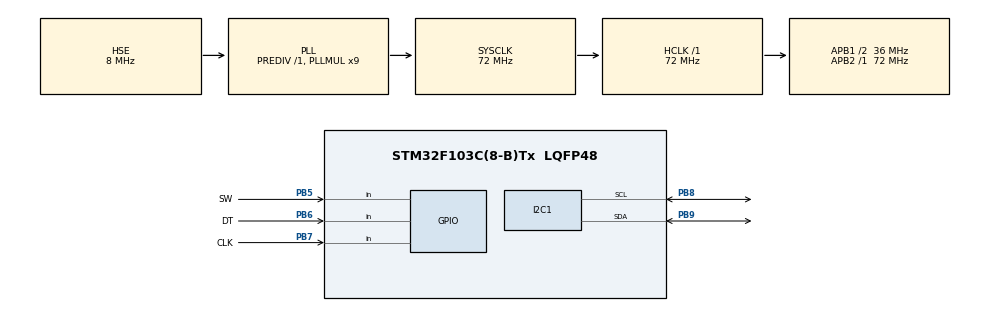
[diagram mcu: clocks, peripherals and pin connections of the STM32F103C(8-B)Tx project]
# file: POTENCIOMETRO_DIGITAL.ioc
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Dma.I2C1_TX.0.Direction=DMA_MEMORY_TO_PERIPH
Dma.I2C1_TX.0.Instance=DMA1_Channel6
Dma.I2C1_TX.0.MemDataAlignment=DMA_MDATAALIGN_BYTE
Dma.I2C1_TX.0.MemInc=DMA_MINC_ENABLE
Dma.I2C1_TX.0.Mode=DMA_NORMAL
Dma.I2C1_TX.0.PeriphDataAlignment=DMA_PDATAALIGN_BYTE
Dma.I2C1_TX.0.PeriphInc=DMA_PINC_DISABLE
Dma.I2C1_TX.0.Priority=DMA_PRIORITY_LOW
Dma.Request0=I2C1_TX
I2C1.I2C_Mode=I2C_Fast
Mcu.Family=STM32F1
Mcu.Name=STM32F103C(8-B)Tx
Mcu.Package=LQFP48
NVIC.DMA1_Channel6_IRQn=true\:0\:0\:false\:false\:true\:false\:true\:true
NVIC.I2C1_EV_IRQn=true\:0\:0\:false\:false\:true\:true\:true\:true
NVIC.PriorityGroup=NVIC_PRIORITYGROUP_4
NVIC.TIM4_IRQn=true\:0\:0\:false\:false\:true\:true\:true\:true
PA13.Mode=Serial_Wire
PA13.Signal=SYS_JTMS-SWDIO
PA14.Mode=Serial_Wire
PA14.Signal=SYS_JTCK-SWCLK
PB5.GPIO_Label=SW
PB5.GPIO_Mode=GPIO_MODE_INPUT
PB5.GPIO_PuPd=GPIO_PULLDOWN
PB5.Signal=GPIO_Input
PB6.GPIO_Label=DT
PB6.GPIO_Mode=GPIO_MODE_INPUT
PB6.GPIO_PuPd=GPIO_PULLDOWN
PB6.Signal=GPIO_Input
PB7.GPIO_Label=CLK
PB7.GPIO_Mode=GPIO_MODE_INPUT
PB7.GPIO_PuPd=GPIO_PULLDOWN
PB7.Signal=GPIO_Input
PB8.Mode=I2C
PB8.Signal=I2C1_SCL
PB9.Mode=I2C
PB9.Signal=I2C1_SDA
PD0-OSC_IN.Mode=HSE-External-Oscillator
PD0-OSC_IN.Signal=RCC_OSC_IN
PD1-OSC_OUT.Mode=HSE-External-Oscillator
PD1-OSC_OUT.Signal=RCC_OSC_OUT
ProjectManager.HeapSize=0x200
ProjectManager.StackSize=0x400
ProjectManager.TargetToolchain=STM32CubeIDE
RCC.AHBFreq_Value=72000000
RCC.APB1CLKDivider=RCC_HCLK_DIV2
RCC.APB1Freq_Value=36000000
RCC.APB1TimFreq_Value=72000000
RCC.APB2Freq_Value=72000000
RCC.APB2TimFreq_Value=72000000
RCC.HCLKFreq_Value=72000000
RCC.PLLMUL=RCC_PLL_MUL9
RCC.PLLSourceVirtual=RCC_PLLSOURCE_HSE
RCC.SYSCLKFreq_VALUE=72000000
RCC.SYSCLKSource=RCC_SYSCLKSOURCE_PLLCLK
RCC.USBFreq_Value=72000000
TIM4.Period=10-1
TIM4.Prescaler=36000-1
VP_TIM4_VS_ClockSourceINT.Mode=Internal
board=custom

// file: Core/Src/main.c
/* USER CODE BEGIN Header */
/**
  ******************************************************************************
  * @file           : main.c
  * @brief          : Main program body
  ******************************************************************************
  * @attention
  *
  * Copyright (c) 2025 STMicroelectronics.
  * All rights reserved.
  *
  * This software is licensed under terms that can be found in the LICENSE file
  * in the root directory of this software component.
  * If no LICENSE file comes with this software, it is provided AS-IS.
  *
  ******************************************************************************
  */
/* USER CODE END Header */
#include "main.h"

/* USER CODE BEGIN Includes */
#include "stdio.h" //para sprintf
#include "Anglas_OLED_SSD1306_DMA.h"
#include "Anglas_IMAGENES.h"
#include "Anglas_ENCODER_ROT.h"
#include "Anglas_MCP4725.h"
/* USER CODE END Includes */

I2C_HandleTypeDef hi2c1;
DMA_HandleTypeDef hdma_i2c1_tx;

TIM_HandleTypeDef htim4;

/* USER CODE BEGIN PV */
extern uint16_t encoder;
extern int16_t paso_Encoder;

uint16_t dacOut;
uint16_t last_dacOut=-1;

float voltage;
float last_voltage=-1;

/* USER CODE END PV */

void SystemClock_Config(void);
static void MX_GPIO_Init(void);
static void MX_DMA_Init(void);
static void MX_I2C1_Init(void);
static void MX_TIM4_Init(void);
/* USER CODE BEGIN PFP */
void control_PasosEncoder_SW(void);
/* USER CODE END PFP */

int main(void)
{

  /* MCU Configuration--------------------------------------------------------*/

  /* Reset of all peripherals, Initializes the Flash interface and the Systick. */
  HAL_Init();

  /* Configure the system clock */
  SystemClock_Config();

  /* Initialize all configured peripherals */
  MX_GPIO_Init();
  MX_DMA_Init();
  MX_I2C1_Init();
  MX_TIM4_Init();
  /* USER CODE BEGIN 2 */
  HAL_TIM_Base_Start_IT(&htim4);
  OLED_Init_DMA();
  //OLED_Imagen_Small_DMA(2,0, AM_INTRO, 128, 64);
  //OLED_Print_Text_DMA(1,0,1,"Designed by G. Anglas");
  OLED_Print_Text_DMA(0,110,1,"100");

  /* USER CODE END 2 */

  /* Infinite loop */
  /* USER CODE BEGIN WHILE */
  while (1)
  {
	  dacOut = encoder;
	  OLED_UpdateIfChanged(0,10,2,"DAC : %4i",dacOut,&last_dacOut);
	  MCP4725_Out(dacOut);

	  voltage = dacOut * 3.25/4096.0;
	  OLED_UpdateIfChanged(3,7,3,"%1.3fV",voltage,&last_voltage);

	  control_PasosEncoder_SW();

    /* USER CODE END WHILE */

  }
}

void SystemClock_Config(void)
{
  RCC_OscInitTypeDef RCC_OscInitStruct = {0};
  RCC_ClkInitTypeDef RCC_ClkInitStruct = {0};

  /** Initializes the RCC Oscillators according to the specified parameters
  * in the RCC_OscInitTypeDef structure.
  */
  RCC_OscInitStruct.OscillatorType = RCC_OSCILLATORTYPE_HSE;
  RCC_OscInitStruct.HSEState = RCC_HSE_ON;
  RCC_OscInitStruct.HSEPredivValue = RCC_HSE_PREDIV_DIV1;
  RCC_OscInitStruct.HSIState = RCC_HSI_ON;
  RCC_OscInitStruct.PLL.PLLState = RCC_PLL_ON;
  RCC_OscInitStruct.PLL.PLLSource = RCC_PLLSOURCE_HSE;
  RCC_OscInitStruct.PLL.PLLMUL = RCC_PLL_MUL9;
  if (HAL_RCC_OscConfig(&RCC_OscInitStruct) != HAL_OK)
  {
    Error_Handler();
  }

  /** Initializes the CPU, AHB and APB buses clocks
  */
  RCC_ClkInitStruct.ClockType = RCC_CLOCKTYPE_HCLK|RCC_CLOCKTYPE_SYSCLK
                              |RCC_CLOCKTYPE_PCLK1|RCC_CLOCKTYPE_PCLK2;
  RCC_ClkInitStruct.SYSCLKSource = RCC_SYSCLKSOURCE_PLLCLK;
  RCC_ClkInitStruct.AHBCLKDivider = RCC_SYSCLK_DIV1;
  RCC_ClkInitStruct.APB1CLKDivider = RCC_HCLK_DIV2;
  RCC_ClkInitStruct.APB2CLKDivider = RCC_HCLK_DIV1;

  if (HAL_RCC_ClockConfig(&RCC_ClkInitStruct, FLASH_LATENCY_2) != HAL_OK)
  {
    Error_Handler();
  }
}

static void MX_I2C1_Init(void)
{

  hi2c1.Instance = I2C1;
  hi2c1.Init.ClockSpeed = 400000;
  hi2c1.Init.DutyCycle = I2C_DUTYCYCLE_2;
  hi2c1.Init.OwnAddress1 = 0;
  hi2c1.Init.AddressingMode = I2C_ADDRESSINGMODE_7BIT;
  hi2c1.Init.DualAddressMode = I2C_DUALADDRESS_DISABLE;
  hi2c1.Init.OwnAddress2 = 0;
  hi2c1.Init.GeneralCallMode = I2C_GENERALCALL_DISABLE;
  hi2c1.Init.NoStretchMode = I2C_NOSTRETCH_DISABLE;
  if (HAL_I2C_Init(&hi2c1) != HAL_OK)
  {
    Error_Handler();
  }

}

static void MX_TIM4_Init(void)
{

  TIM_ClockConfigTypeDef sClockSourceConfig = {0};
  TIM_MasterConfigTypeDef sMasterConfig = {0};

  htim4.Instance = TIM4;
  htim4.Init.Prescaler = 36000-1;
  htim4.Init.CounterMode = TIM_COUNTERMODE_UP;
  htim4.Init.Period = 10-1;
  htim4.Init.ClockDivision = TIM_CLOCKDIVISION_DIV1;
  htim4.Init.AutoReloadPreload = TIM_AUTORELOAD_PRELOAD_DISABLE;
  if (HAL_TIM_Base_Init(&htim4) != HAL_OK)
  {
    Error_Handler();
  }
  sClockSourceConfig.ClockSource = TIM_CLOCKSOURCE_INTERNAL;
  if (HAL_TIM_ConfigClockSource(&htim4, &sClockSourceConfig) != HAL_OK)
  {
    Error_Handler();
  }
  sMasterConfig.MasterOutputTrigger = TIM_TRGO_RESET;
  sMasterConfig.MasterSlaveMode = TIM_MASTERSLAVEMODE_DISABLE;
  if (HAL_TIMEx_MasterConfigSynchronization(&htim4, &sMasterConfig) != HAL_OK)
  {
    Error_Handler();
  }

}

static void MX_DMA_Init(void)
{

  /* DMA controller clock enable */
  __HAL_RCC_DMA1_CLK_ENABLE();

  /* DMA interrupt init */
  /* DMA1_Channel6_IRQn interrupt configuration */
  HAL_NVIC_SetPriority(DMA1_Channel6_IRQn, 0, 0);
  HAL_NVIC_EnableIRQ(DMA1_Channel6_IRQn);

}

static void MX_GPIO_Init(void)
{
  GPIO_InitTypeDef GPIO_InitStruct = {0};

  /* GPIO Ports Clock Enable */
  __HAL_RCC_GPIOD_CLK_ENABLE();
  __HAL_RCC_GPIOA_CLK_ENABLE();
  __HAL_RCC_GPIOB_CLK_ENABLE();

  /*Configure GPIO pins : SW_Pin DT_Pin CLK_Pin */
  GPIO_InitStruct.Pin = SW_Pin|DT_Pin|CLK_Pin;
  GPIO_InitStruct.Mode = GPIO_MODE_INPUT;
  GPIO_InitStruct.Pull = GPIO_PULLDOWN;
  HAL_GPIO_Init(GPIOB, &GPIO_InitStruct);

}

/* USER CODE BEGIN 4 */
void control_PasosEncoder_SW(void){
	static uint8_t mem=0,suma=2;
	//Control del pulsador del ENCODER (SW)
    if(HAL_GPIO_ReadPin(SW_GPIO_Port, SW_Pin) == 0 && mem == 0){mem = 1;}
    if(HAL_GPIO_ReadPin(SW_GPIO_Port, SW_Pin) == 1 && mem == 1){suma++; mem = 0;}
    if(suma==1){suma=2;paso_Encoder = 100;OLED_Print_Text_DMA(0,110,1,"100");}
    if(suma==3){suma=4;paso_Encoder =  10;OLED_Print_Text_DMA(0,110,1," 10");}
    if(suma==5){suma=0;paso_Encoder =   1;OLED_Print_Text_DMA(0,110,1,"  1");}

}
/* USER CODE END 4 */

void Error_Handler(void)
{
  __disable_irq();
  while (1)
  {
  }
}
